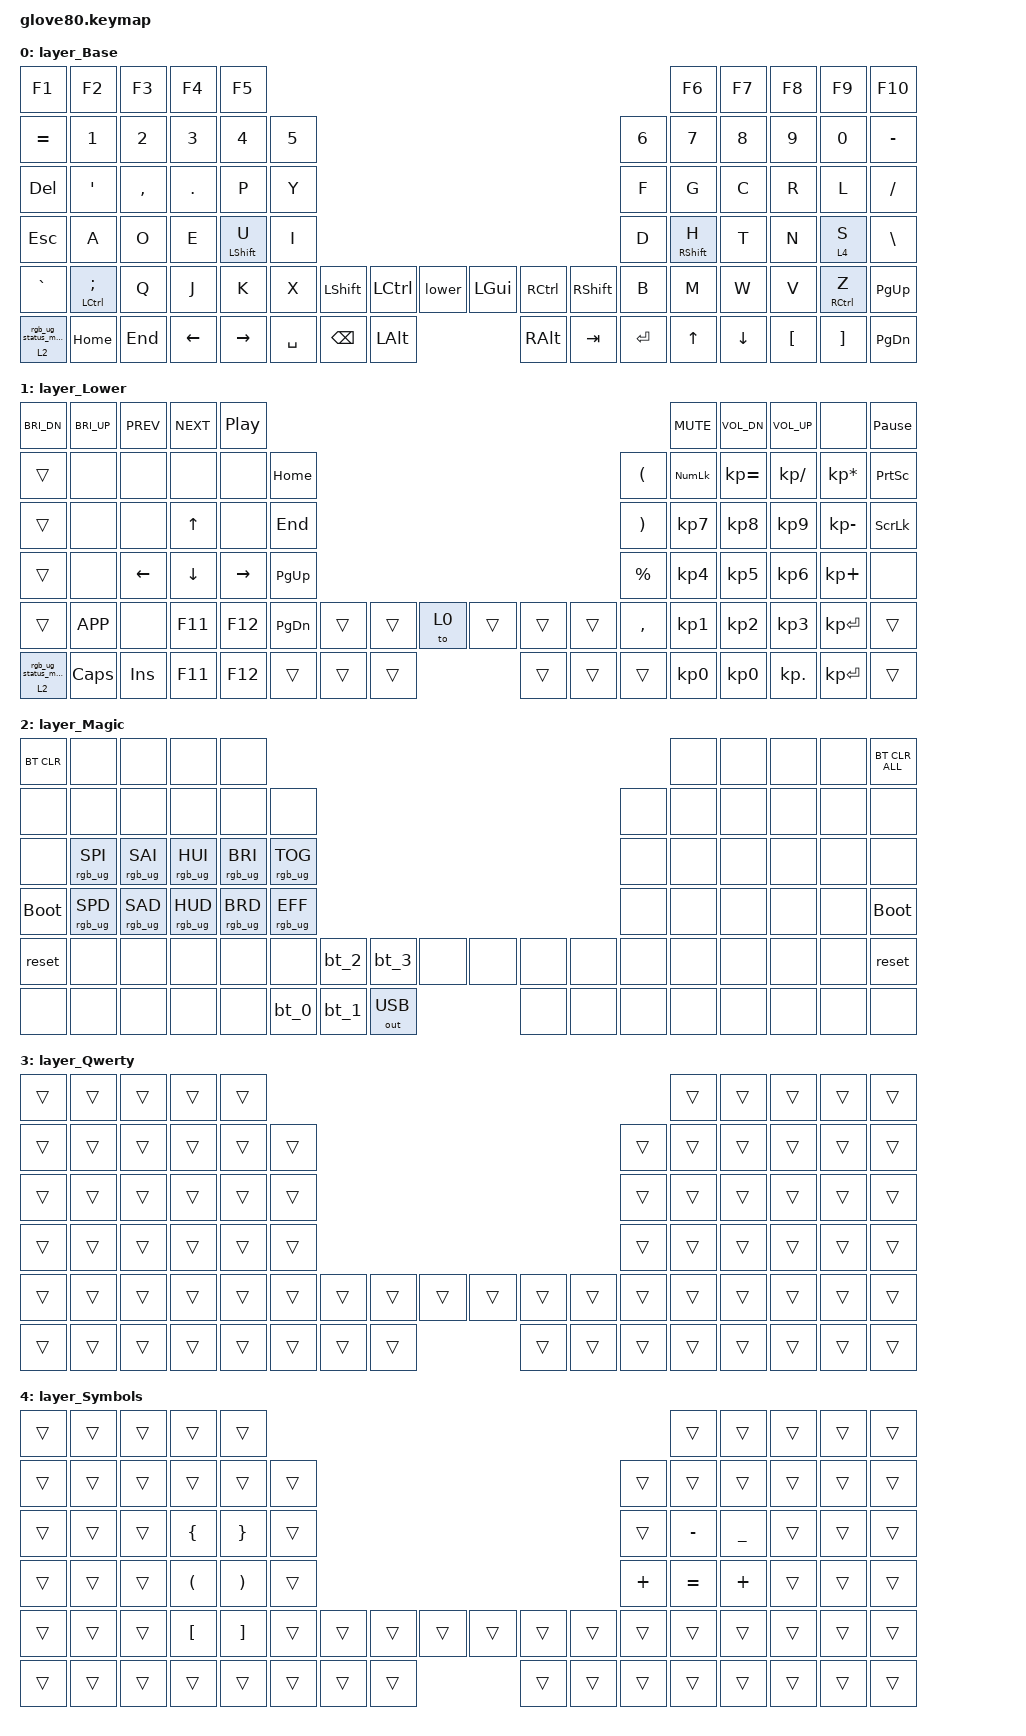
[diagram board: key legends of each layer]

/*
 * Copyright (c) 2020 The ZMK Contributors
 * Copyright (c) 2022 Innaworks Development Limited, trading as MoErgo
 *
 * SPDX-License-Identifier: MIT
 */


/* THIS FILE WAS GENERATED BY GLOVE80 LAYOUT EDITOR
 *
 * This file was generated automatically. You may or may not want to
 * edit it directly.
 */

#include <behaviors.dtsi>
/* Include all behaviour includes needed by system behaviors/macros */
#include <dt-bindings/zmk/outputs.h>

/* Include behaviour includes needed by key binds - automatically generated */
#include <dt-bindings/zmk/keys.h>
#include <dt-bindings/zmk/bt.h>
#include <dt-bindings/zmk/rgb.h>
#include <dt-bindings/zmk/outputs.h>


/ {
    /* Glove80 system behavior & macros */
    behaviors {
        // For the "layer" key, it'd nice to be able to use it as either a shift or a toggle.
        // Configure it as a tap dance, so the first tap (or hold) is a &mo and the second tap is a &to
        lower: tap_dance_0 {
            compatible = "zmk,behavior-tap-dance";
            label = "LAYER_TAP_DANCE";
            #binding-cells = <0>;
            tapping-term-ms = <200>;
            bindings = <&mo 1>, <&to 1>;
        };
    };
};

/ {
    macros {
        rgb_ug_status_macro: rgb_ug_status_macro_0 {
            label = "RGB_UG_STATUS";
            compatible = "zmk,behavior-macro";
            #binding-cells = <0>;
            bindings
                = <&rgb_ug RGB_STATUS>;
        };

        bt_0: bt_profile_macro_0 {
            label = "BT_0";
            compatible = "zmk,behavior-macro";
            #binding-cells = <0>;
            bindings
                = <&out OUT_BLE>,
                  <&bt BT_SEL 0>;
        };

        bt_1: bt_profile_macro_1 {
            label = "BT_1";
            compatible = "zmk,behavior-macro";
            #binding-cells = <0>;
            bindings
                = <&out OUT_BLE>,
                  <&bt BT_SEL 1>;
        };

        bt_2: bt_profile_macro_2 {
            label = "BT_2";
            compatible = "zmk,behavior-macro";
            #binding-cells = <0>;
            bindings
                = <&out OUT_BLE>,
                  <&bt BT_SEL 2>;
        };

        bt_3: bt_profile_macro_3 {
            label = "BT_3";
            compatible = "zmk,behavior-macro";
            #binding-cells = <0>;
            bindings
                = <&out OUT_BLE>,
                  <&bt BT_SEL 3>;
        };
    };
};

/ {
    magic: magic_hold_tap {
        compatible = "zmk,behavior-hold-tap";
        label = "MAGIC_HOLD_TAP";
        #binding-cells = <2>;
        flavor = "tap-preferred";
        tapping-term-ms = <200>;
        bindings = <&mo>, <&rgb_ug_status_macro>;
    };
};

    /* Custom Defined Behaviors */
/ {

};

    /* Automatically generated keymap */
/ {
    keymap {
        compatible = "zmk,keymap";


        layer_Base {
            bindings = <
     &kp F1          &kp F2     &kp F3    &kp F4       &kp F5                                                                                       &kp F6    &kp F7    &kp F8       &kp F9    &kp F10
  &kp EQUAL          &kp N1     &kp N2    &kp N3       &kp N4  &kp N5                                                                  &kp N6       &kp N7    &kp N8    &kp N9       &kp N0  &kp MINUS
    &kp DEL         &kp SQT  &kp COMMA   &kp DOT        &kp P   &kp Y                                                                   &kp F        &kp G     &kp C     &kp R        &kp L  &kp SLASH
    &kp ESC           &kp A      &kp O     &kp E  &mt LSHFT U   &kp I                                                                   &kp D  &mt RSHFT H     &kp T     &kp N      &lt 4 S   &kp BSLH
  &kp GRAVE  &mt LCTRL SEMI      &kp Q     &kp J        &kp K   &kp X  &kp LSHFT  &kp LCTRL    &lower  &kp LGUI  &kp RCTRL  &kp RSHFT   &kp B        &kp M     &kp W     &kp V  &mt RCTRL Z  &kp PG_UP
 &magic 2 0        &kp HOME    &kp END  &kp LEFT    &kp RIGHT          &kp SPACE   &kp BSPC  &kp LALT  &kp RALT    &kp TAB    &kp RET               &kp UP  &kp DOWN  &kp LBKT     &kp RBKT  &kp PG_DN
            >;
        };

        layer_Lower {
            bindings = <
 &kp C_BRI_DN  &kp C_BRI_UP      &kp C_PREV      &kp C_NEXT         &kp C_PP                                                                                    &kp C_MUTE  &kp C_VOL_DN  &kp C_VOL_UP            &none  &kp PAUSE_BREAK
       &trans         &none           &none           &none            &none   &kp HOME                                                   &kp LEFT_PARENTHESIS  &kp KP_NUM  &kp KP_EQUAL  &kp KP_SLASH  &kp KP_MULTIPLY  &kp PRINTSCREEN
       &trans         &none           &none    &kp UP_ARROW            &none    &kp END                                                  &kp RIGHT_PARENTHESIS   &kp KP_N7     &kp KP_N8     &kp KP_N9     &kp KP_MINUS   &kp SCROLLLOCK
       &trans         &none  &kp LEFT_ARROW  &kp DOWN_ARROW  &kp RIGHT_ARROW  &kp PG_UP                                                            &kp PERCENT   &kp KP_N4     &kp KP_N5     &kp KP_N6      &kp KP_PLUS            &none
       &trans     &kp K_APP           &none         &kp F11          &kp F12  &kp PG_DN  &trans  &trans   &to 0  &trans  &trans  &trans              &kp COMMA   &kp KP_N1     &kp KP_N2     &kp KP_N3     &kp KP_ENTER           &trans
   &magic 2 0      &kp CAPS         &kp INS         &kp F11          &kp F12             &trans  &trans  &trans  &trans  &trans  &trans                          &kp KP_N0     &kp KP_N0    &kp KP_DOT     &kp KP_ENTER           &trans
            >;
        };

        layer_Magic {
            bindings = <
  &bt BT_CLR            &none            &none            &none            &none                                                                                  &none   &none   &none   &none  &bt BT_CLR_ALL
       &none            &none            &none            &none            &none            &none                                                         &none   &none   &none   &none   &none           &none
       &none  &rgb_ug RGB_SPI  &rgb_ug RGB_SAI  &rgb_ug RGB_HUI  &rgb_ug RGB_BRI  &rgb_ug RGB_TOG                                                         &none   &none   &none   &none   &none           &none
 &bootloader  &rgb_ug RGB_SPD  &rgb_ug RGB_SAD  &rgb_ug RGB_HUD  &rgb_ug RGB_BRD  &rgb_ug RGB_EFF                                                         &none   &none   &none   &none   &none     &bootloader
      &reset            &none            &none            &none            &none            &none   &bt_2   &bt_3         &none   &none   &none   &none   &none   &none   &none   &none   &none          &reset
       &none            &none            &none            &none            &none                    &bt_0   &bt_1  &out OUT_USB   &none   &none   &none           &none   &none   &none   &none           &none
            >;
        };

        layer_Qwerty {
            bindings = <
 &trans  &trans  &trans  &trans  &trans                                                                  &trans  &trans  &trans  &trans  &trans
 &trans  &trans  &trans  &trans  &trans  &trans                                                  &trans  &trans  &trans  &trans  &trans  &trans
 &trans  &trans  &trans  &trans  &trans  &trans                                                  &trans  &trans  &trans  &trans  &trans  &trans
 &trans  &trans  &trans  &trans  &trans  &trans                                                  &trans  &trans  &trans  &trans  &trans  &trans
 &trans  &trans  &trans  &trans  &trans  &trans  &trans  &trans  &trans  &trans  &trans  &trans  &trans  &trans  &trans  &trans  &trans  &trans
 &trans  &trans  &trans  &trans  &trans          &trans  &trans  &trans  &trans  &trans  &trans          &trans  &trans  &trans  &trans  &trans
            >;
        };

        layer_Symbols {
            bindings = <
 &trans  &trans  &trans    &trans    &trans                                                                       &trans     &trans  &trans  &trans  &trans
 &trans  &trans  &trans    &trans    &trans  &trans                                                    &trans     &trans     &trans  &trans  &trans  &trans
 &trans  &trans  &trans  &kp LBRC  &kp RBRC  &trans                                                    &trans  &kp MINUS  &kp UNDER  &trans  &trans  &trans
 &trans  &trans  &trans  &kp LPAR  &kp RPAR  &trans                                                  &kp PLUS  &kp EQUAL   &kp PLUS  &trans  &trans  &trans
 &trans  &trans  &trans  &kp LBKT  &kp RBKT  &trans  &trans  &trans  &trans  &trans  &trans  &trans    &trans     &trans     &trans  &trans  &trans  &trans
 &trans  &trans  &trans    &trans    &trans          &trans  &trans  &trans  &trans  &trans  &trans               &trans     &trans  &trans  &trans  &trans
            >;
        };

    };
};
